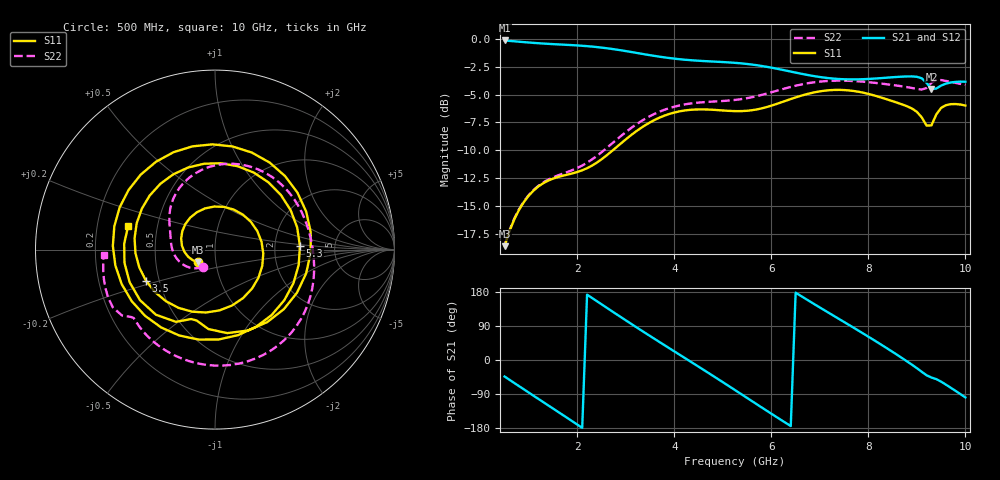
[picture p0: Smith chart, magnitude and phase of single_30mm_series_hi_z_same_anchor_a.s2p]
! Touchstone file exported from HFSS 3D Layout Design 2026.1.0
!  File:  D:/Work/ADS/HFSS_VERDICT/hfss_sma_connector_cpw.aedt
!  Generated:  02:48:44 PM Aug  5, 2026
!  Design:  SINGLE_END_SMA_CPW_30MM
!  Project:  hfss_sma_connector_cpw
! Variables:
!  $sma_Base_D = 6.25mm
!  $sma_Base_L = 8mm
!  $sma_Feet_L = 4mm
!  $sma_Feet_W = 1mm
!  $sma_Front_L = 1.5mm
!  $sma_Front_W = 6.5mm
!  $sma_Hole_D = 1.25mm
!  $sma_PTFE_D = 4.2mm
!  $sma_Pin_D = 0.95mm
!  $sma_Pin_P = 1.7mm
# GHz S MA R 50.000000
! Terminal data exported
! Port[1] = Port1
! Port[2] = S1_1_Pin_T1
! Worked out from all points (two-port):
!   96 points, 500 MHz to 10 GHz, reference 50 ohm
!   highest |S21| = -0.16 dB at 500 MHz (marker M1); lowest = -4.5 dB at 9.3 GHz (marker M2)
!   |S21| within 3 dB of the highest: start of sweep to 6.636 GHz
!   lowest |S11| = -18.6 dB at 500 MHz (marker M3), VSWR 1.27, Z = 41 - j5.77 ohm
!   |S11| at or under -10 dB: start of sweep to 2.731 GHz
!   |S22| runs from -18.5 to -3.7 dB; largest |S21 - S12| = 1.9e-13
!   S11 on the Smith chart (normalised r, x): 500 MHz: 0.82, -0.12; 3.5 GHz: 0.42, -0.18; 5.3 GHz: 2.79, +0.15; 10 GHz: 0.34, +0.12
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0.5  0.1176 -143.8  0.9823 -43.6  0.9823 -43.6  0.1187 -125.1
1.2  0.218 139.3  0.9545 -103.0  0.9545 -103.0  0.2196 -167.2
1.7  0.2432 78.2  0.9408 -145.1  0.9408 -145.1  0.2486 170.7
2.1  0.2573 23.7  0.9297 -179.0  0.9297 -179.0  0.2704 157.7
2.8  0.3256 -73.0  0.8943 121.4  0.8943 121.4  0.3518 133.6
3.5  0.4221 -155.8  0.8436 63.2  0.8436 63.2  0.4504 99.4
3.7  0.4435 -177.4  0.8305 46.9  0.8305 46.9  0.4718 88.7
4.2  0.4765 129.6  0.8059 6.5  0.8059 6.5  0.5071 62.0
4.6  0.4822 86.1  0.7944 -25.8  0.7944 -25.8  0.5195 41.8
5.3  0.4737 2.5  0.7781 -83.5  0.7781 -83.5  0.5334 10.6
5.8  0.4874 -62.1  0.755 -125.2  0.755 -125.2  0.56 -9.5
6.1  0.5095 -100.2  0.7348 -150.0  0.7348 -150.0  0.5837 -21.8
6.5  0.5457 -148.2  0.705 177.7  0.705 177.7  0.6157 -38.9
6.9  0.5758 167.0  0.6788 146.3  0.6788 146.3  0.6388 -56.5
7.3  0.5895 123.8  0.6621 115.5  0.6621 115.5  0.6486 -73.8
7.7  0.583 80.4  0.6572 84.9  0.6572 84.9  0.6461 -90.4
8.1  0.5585 34.7  0.6623 53.6  0.6623 53.6  0.6354 -106.1
8.5  0.5248 -14.7  0.6721 21.3  0.6721 21.3  0.6203 -121.0
8.9  0.4865 -67.9  0.6778 -12.6  0.6778 -12.6  0.6013 -134.6
9.3  0.409 -108.9  0.5949 -46.2  0.5949 -46.2  0.6349 -144.7
9.7  0.5092 -159.1  0.6367 -73.4  0.6367 -73.4  0.6404 -165.2
10  0.5017 164.7  0.6418 -98.8  0.6418 -98.8  0.6213 -177.3
